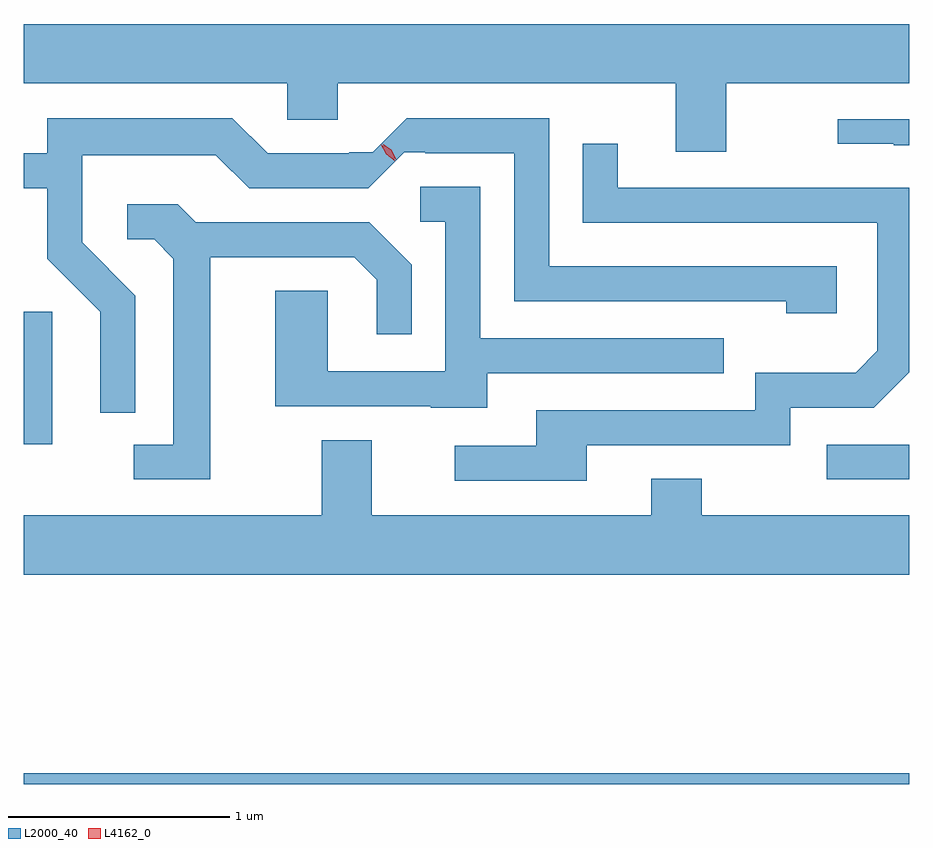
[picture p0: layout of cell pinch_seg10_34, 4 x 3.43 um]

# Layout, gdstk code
import gdstk
lib = gdstk.Library(unit=1e-6, precision=1e-09)
def R(c, l, rs):  # rectangles x0, y0, x1, y1
    for r in rs: c.add(gdstk.rectangle(r[:2], r[2:], *l))
def P(c, l, *ps):  # polygons
    for p in ps: c.add(gdstk.Polygon(p, *l))
L2000_40 = (2000, 40)
L4162_0 = (4162, 0)

pinch_seg10_34 = lib.new_cell('pinch_seg10_34')
R(pinch_seg10_34, L2000_40, [(598.346,2203.99,602.346,2204.039), (601.973,2205.366,602.346,2205.524), (598.346,2205.526,598.474,2206.124)])
P(pinch_seg10_34, L2000_40, [(601.519,2207.156),(602.346,2207.156),(602.346,2207.424),(598.346,2207.424),(598.346,2207.156),(599.536,2207.156),(599.536,2206.991),(599.764,2206.991),(599.764,2207.156),(601.291,2207.156),(601.291,2206.846),(601.519,2206.846)],
  [(598.849,2206.197),(598.609,2206.437),(598.609,2206.831),(599.214,2206.831),(599.364,2206.681),(599.902,2206.681),(600.065,2206.844),(600.16,2206.844),(600.16,2206.841),(600.561,2206.841),(600.561,2206.171),(601.791,2206.171),(601.791,2206.116),(602.019,2206.116),(602.019,2206.329),(600.719,2206.329),(600.719,2206.999),(600.076,2206.999),(599.922,2206.845),(599.817,2206.845),(599.817,2206.839),(599.447,2206.839),(599.287,2206.999),(598.451,2206.999),(598.451,2206.839),(598.346,2206.839),(598.346,2206.681),(598.451,2206.681),(598.451,2206.364),(598.691,2206.124),(598.691,2205.668),(598.849,2205.668)],
  [(602.346,2206.994),(602.023,2206.994),(602.023,2206.884),(602.277,2206.884),(602.277,2206.876),(602.346,2206.876)],
  [(600.889,2205.521),(601.809,2205.521),(601.809,2205.691),(602.187,2205.691),(602.346,2205.851),(602.346,2206.684),(601.029,2206.684),(601.029,2206.883),(600.871,2206.883),(600.871,2206.526),(602.201,2206.526),(602.201,2205.947),(602.104,2205.849),(601.651,2205.849),(601.651,2205.679),(600.661,2205.679),(600.661,2205.519),(600.293,2205.519),(600.293,2205.361),(600.889,2205.361)],
  [(600.439,2205.846),(601.508,2205.846),(601.508,2206.004),(600.409,2206.004),(600.409,2206.689),(600.138,2206.689),(600.138,2206.531),(600.251,2206.531),(600.251,2205.854),(599.719,2205.854),(599.719,2206.219),(599.481,2206.219),(599.481,2205.696),(600.185,2205.696),(600.185,2205.691),(600.439,2205.691)],
  [(599.189,2206.371),(599.839,2206.371),(599.941,2206.269),(599.941,2206.023),(600.099,2206.023),(600.099,2206.337),(599.907,2206.529),(599.122,2206.529),(599.042,2206.609),(598.813,2206.609),(598.813,2206.451),(598.934,2206.451),(599.021,2206.364),(599.021,2205.524),(598.843,2205.524),(598.843,2205.366),(599.189,2205.366)],
  [(602.346,2205.204),(601.409,2205.204),(601.409,2205.369),(601.181,2205.369),(601.181,2205.204),(599.919,2205.204),(599.919,2205.544),(599.691,2205.544),(599.691,2205.204),(598.346,2205.204),(598.346,2204.936),(602.346,2204.936)])
P(pinch_seg10_34, L4162_0, [(600.023,2206.803),(599.983,2206.836),(599.958,2206.88),(599.958,2206.881),(599.959,2206.881),(599.998,2206.848),(600.024,2206.804),(600.024,2206.803)],
  [(600.027,2206.814),(599.99,2206.841),(599.968,2206.882),(599.968,2206.882),(599.968,2206.882),(600.005,2206.855),(600.028,2206.814),(600.028,2206.814)])

lib.write_gds('pinch_seg10_34.gds')
